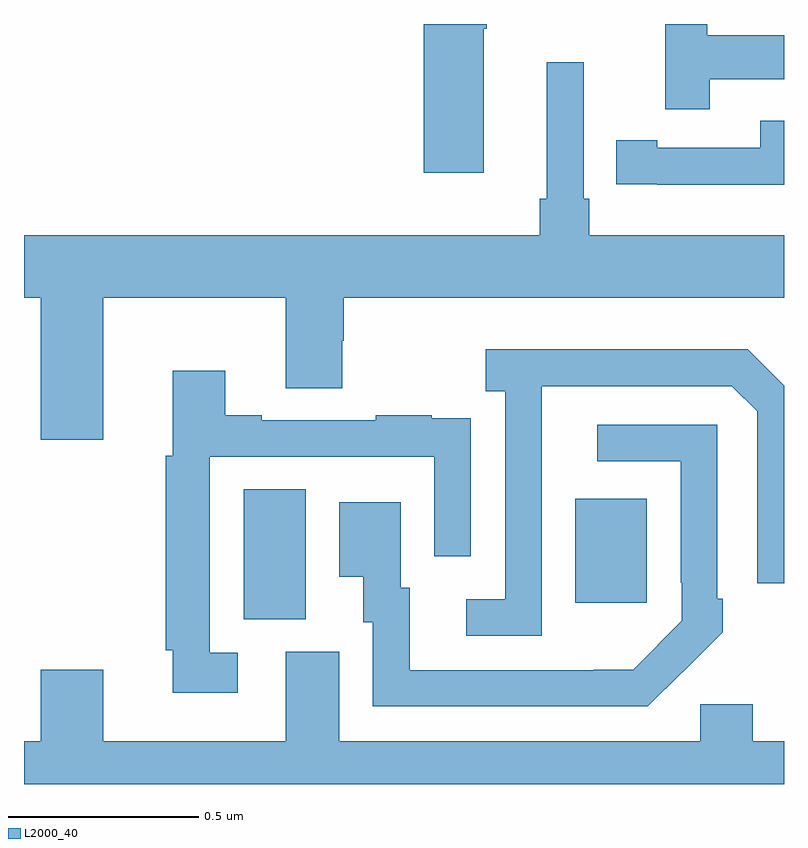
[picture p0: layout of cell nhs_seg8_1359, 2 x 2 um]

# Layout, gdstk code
import gdstk
lib = gdstk.Library(unit=1e-6, precision=1e-09)
def R(c, l, rs):  # rectangles x0, y0, x1, y1
    for r in rs: c.add(gdstk.rectangle(r[:2], r[2:], *l))
def P(c, l, *ps):  # polygons
    for p in ps: c.add(gdstk.Polygon(p, *l))
L2000_40 = (2000, 40)

nhs_seg8_1359 = lib.new_cell('nhs_seg8_1359')
R(nhs_seg8_1359, L2000_40, [(129.578,1102.333,129.742,1102.676), (130.451,1102.377,130.639,1102.651)])
P(nhs_seg8_1359, L2000_40, [(130.805,1103.754),(131,1103.754),(131,1103.87),(130.798,1103.87),(130.798,1103.9),(130.688,1103.9),(130.688,1103.676),(130.805,1103.676)],
  [(130.21,1103.887),(130.218,1103.887),(130.218,1103.9),(130.052,1103.9),(130.052,1103.508),(130.21,1103.508)],
  [(129.208,1103.18),(129.689,1103.18),(129.689,1102.942),(129.837,1102.942),(129.837,1103.067),(129.842,1103.067),(129.842,1103.18),(131,1103.18),(131,1103.344),(130.487,1103.344),(130.487,1103.44),(130.473,1103.44),(130.473,1103.8),(130.376,1103.8),(130.376,1103.44),(130.357,1103.44),(130.357,1103.344),(129,1103.344),(129,1103.18),(129.044,1103.18),(129.044,1102.806),(129.208,1102.806)],
  [(131,1103.646),(130.938,1103.646),(130.938,1103.574),(130.666,1103.574),(130.666,1103.594),(130.558,1103.594),(130.558,1103.478),(130.666,1103.478),(130.666,1103.477),(131,1103.477)],
  [(130.362,1102.747),(130.363,1102.747),(130.363,1102.947),(130.863,1102.947),(130.929,1102.881),(130.929,1102.428),(131,1102.428),(131,1102.948),(130.904,1103.044),(130.215,1103.044),(130.215,1102.934),(130.266,1102.934),(130.266,1102.386),(130.164,1102.386),(130.164,1102.29),(130.362,1102.29)],
  [(129.562,1102.245),(129.489,1102.245),(129.489,1102.761),(130.08,1102.761),(130.08,1102.5),(130.176,1102.5),(130.176,1102.754),(130.175,1102.754),(130.175,1102.863),(130.073,1102.863),(130.073,1102.87),(129.925,1102.87),(129.925,1102.857),(129.625,1102.857),(129.625,1102.87),(129.529,1102.87),(129.529,1102.987),(129.392,1102.987),(129.392,1102.764),(129.373,1102.764),(129.373,1102.252),(129.392,1102.252),(129.392,1102.14),(129.562,1102.14)],
  [(130.733,1102.195),(130.734,1102.194),(130.839,1102.299),(130.839,1102.387),(130.824,1102.387),(130.824,1102.845),(130.509,1102.845),(130.509,1102.749),(130.728,1102.749),(130.728,1102.429),(130.731,1102.429),(130.731,1102.329),(130.603,1102.201),(130.499,1102.201),(130.499,1102.2),(130.015,1102.2),(130.015,1102.416),(129.991,1102.416),(129.991,1102.642),(129.83,1102.642),(129.83,1102.445),(129.893,1102.445),(129.893,1102.326),(129.918,1102.326),(129.918,1102.104),(130.642,1102.104)],
  [(131,1102.012),(130.918,1102.012),(130.918,1102.11),(130.779,1102.11),(130.779,1102.012),(129.829,1102.012),(129.829,1102.248),(129.689,1102.248),(129.689,1102.012),(129.208,1102.012),(129.208,1102.201),(129.044,1102.201),(129.044,1102.012),(129,1102.012),(129,1101.9),(131,1101.9)])

lib.write_gds('nhs_seg8_1359.gds')
